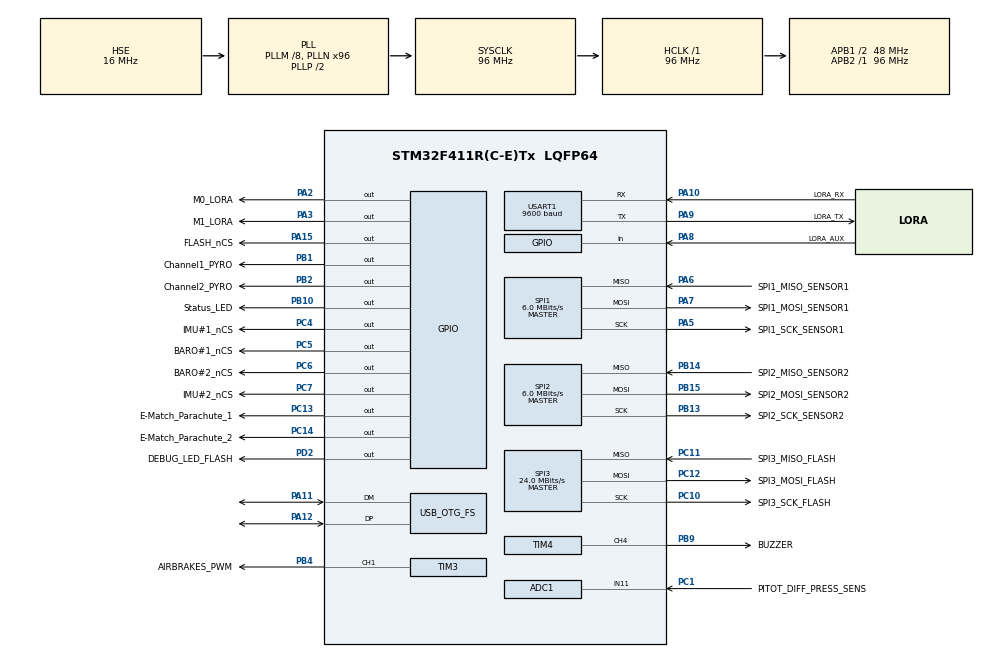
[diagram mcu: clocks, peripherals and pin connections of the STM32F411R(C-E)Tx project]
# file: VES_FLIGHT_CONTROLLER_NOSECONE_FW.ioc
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ADC1.Channel-2\#ChannelRegularConversion=ADC_CHANNEL_11
ADC1.NbrOfConversionFlag=1
ADC1.Rank-2\#ChannelRegularConversion=1
ADC1.SamplingTime-2\#ChannelRegularConversion=ADC_SAMPLETIME_3CYCLES
ADC1.master=1
FREERTOS.HEAP_NUMBER=4
FREERTOS.Tasks01=StartupTask,24,128,Startup,Default,NULL,Dynamic,NULL,NULL;FlashWriteTask,24,128,FlashWrite,Default,NULL,Dynamic,NULL,NULL;SensorsReadTask,24,128,SensorsRead,Default,NULL,Dynamic,NULL,NULL;COMBoardTask,24,128,CommunicationBoard,Default,NULL,Dynamic,NULL,NULL;FlightFSMTask,24,128,FlightFSM,Default,NULL,Dynamic,NULL,NULL;SystemHealthCheckTask,8,128,SystemHealthCheck,Default,NULL,Dynamic,NULL,NULL
FREERTOS.configMAX_TASK_NAME_LEN=25
FREERTOS.configUSE_NEWLIB_REENTRANT=1
Mcu.Family=STM32F4
Mcu.Name=STM32F411R(C-E)Tx
Mcu.Package=LQFP64
NVIC.OTG_FS_IRQn=true\:5\:0\:false\:false\:true\:true\:false\:true\:true
NVIC.PriorityGroup=NVIC_PRIORITYGROUP_4
NVIC.TIM1_UP_TIM10_IRQn=true\:15\:0\:false\:false\:true\:false\:false\:true\:true
NVIC.TimeBase=TIM1_UP_TIM10_IRQn
NVIC.TimeBaseIP=TIM1
PA10.GPIO_Label=LORA_RX
PA10.GPIO_PuPd=GPIO_PULLUP
PA10.Mode=Asynchronous
PA10.Signal=USART1_RX
PA11.Mode=Device_Only
PA11.Signal=USB_OTG_FS_DM
PA12.Mode=Device_Only
PA12.Signal=USB_OTG_FS_DP
PA13.Mode=Serial_Wire
PA13.Signal=SYS_JTMS-SWDIO
PA14.Mode=Serial_Wire
PA14.Signal=SYS_JTCK-SWCLK
PA15.GPIO_Label=FLASH_nCS
PA15.Signal=GPIO_Output
PA2.GPIO_Label=M0_LORA
PA2.Signal=GPIO_Output
PA3.GPIO_Label=M1_LORA
PA3.Signal=GPIO_Output
PA5.GPIO_Label=SPI1_SCK_SENSOR1
PA5.Mode=Full_Duplex_Master
PA5.Signal=SPI1_SCK
PA6.GPIO_Label=SPI1_MISO_SENSOR1
PA6.Mode=Full_Duplex_Master
PA6.Signal=SPI1_MISO
PA7.GPIO_Label=SPI1_MOSI_SENSOR1
PA7.Mode=Full_Duplex_Master
PA7.Signal=SPI1_MOSI
PA8.GPIO_Label=LORA_AUX
PA8.GPIO_PuPd=GPIO_PULLUP
PA8.Signal=GPIO_Input
PA9.GPIO_Label=LORA_TX
PA9.GPIO_PuPd=GPIO_PULLUP
PA9.Mode=Asynchronous
PA9.Signal=USART1_TX
PB1.GPIO_Label=Channel1_PYRO
PB1.Signal=GPIO_Output
PB10.GPIO_Label=Status_LED
PB10.Signal=GPIO_Output
PB13.GPIO_Label=SPI2_SCK_SENSOR2
PB13.Mode=Full_Duplex_Master
PB13.Signal=SPI2_SCK
PB14.GPIO_Label=SPI2_MISO_SENSOR2
PB14.Mode=Full_Duplex_Master
PB14.Signal=SPI2_MISO
PB15.GPIO_Label=SPI2_MOSI_SENSOR2
PB15.Mode=Full_Duplex_Master
PB15.Signal=SPI2_MOSI
PB2.GPIO_Label=Channel2_PYRO
PB2.Signal=GPIO_Output
PB4.GPIO_Label=AIRBRAKES_PWM
PB4.Signal=S_TIM3_CH1
PB9.GPIO_Label=BUZZER
PB9.Signal=S_TIM4_CH4
PC1.GPIO_Label=PITOT_DIFF_PRESS_SENS
PC1.Signal=ADCx_IN11
PC10.GPIO_Label=SPI3_SCK_FLASH
PC10.Mode=Full_Duplex_Master
PC10.Signal=SPI3_SCK
PC11.GPIO_Label=SPI3_MISO_FLASH
PC11.Mode=Full_Duplex_Master
PC11.Signal=SPI3_MISO
PC12.GPIO_Label=SPI3_MOSI_FLASH
PC12.Mode=Full_Duplex_Master
PC12.Signal=SPI3_MOSI
PC13-ANTI_TAMP.GPIO_Label=E-Match_Parachute_1
PC13-ANTI_TAMP.Signal=GPIO_Output
PC14-OSC32_IN.GPIO_Label=E-Match_Parachute_2
PC14-OSC32_IN.Signal=GPIO_Output
PC4.GPIO_Label=IMU\#1_nCS
PC4.Signal=GPIO_Output
PC5.GPIO_Label=BARO\#1_nCS
PC5.Signal=GPIO_Output
PC6.GPIO_Label=BARO\#2_nCS
PC6.Signal=GPIO_Output
PC7.GPIO_Label=IMU\#2_nCS
PC7.Signal=GPIO_Output
PD2.GPIO_Label=DEBUG_LED_FLASH
PD2.Signal=GPIO_Output
PH0\ -\ OSC_IN.Mode=HSE-External-Oscillator
PH0\ -\ OSC_IN.Signal=RCC_OSC_IN
PH1\ -\ OSC_OUT.Mode=HSE-External-Oscillator
PH1\ -\ OSC_OUT.Signal=RCC_OSC_OUT
ProjectManager.HeapSize=0x200
ProjectManager.StackSize=0x400
ProjectManager.TargetToolchain=STM32CubeIDE
RCC.48MHZClocksFreq_Value=48000000
RCC.AHBFreq_Value=96000000
RCC.APB1CLKDivider=RCC_HCLK_DIV2
RCC.APB1Freq_Value=48000000
RCC.APB1TimFreq_Value=96000000
RCC.APB2Freq_Value=96000000
RCC.APB2TimFreq_Value=96000000
RCC.CortexFreq_Value=96000000
RCC.HCLKFreq_Value=96000000
RCC.HSE_VALUE=16000000
RCC.HSI_VALUE=16000000
RCC.LSE_VALUE=32768
RCC.PLLM=8
RCC.PLLN=96
RCC.SYSCLKFreq_VALUE=96000000
RCC.SYSCLKSource=RCC_SYSCLKSOURCE_PLLCLK
RCC.VCOOutputFreq_Value=192000000
SH.ADCx_IN11.0=ADC1_IN11,IN11
SH.S_TIM3_CH1.0=TIM3_CH1,PWM Generation1 CH1
SH.S_TIM4_CH4.0=TIM4_CH4,PWM Generation4 CH4
SPI1.BaudRatePrescaler=SPI_BAUDRATEPRESCALER_16
SPI1.CalculateBaudRate=6.0 MBits/s
SPI1.Direction=SPI_DIRECTION_2LINES
SPI1.Mode=SPI_MODE_MASTER
SPI1.VirtualType=VM_MASTER
SPI2.BaudRatePrescaler=SPI_BAUDRATEPRESCALER_8
SPI2.CalculateBaudRate=6.0 MBits/s
SPI2.Direction=SPI_DIRECTION_2LINES
SPI2.Mode=SPI_MODE_MASTER
SPI2.VirtualType=VM_MASTER
SPI3.BaudRatePrescaler=SPI_BAUDRATEPRESCALER_2
SPI3.CalculateBaudRate=24.0 MBits/s
SPI3.Direction=SPI_DIRECTION_2LINES
SPI3.Mode=SPI_MODE_MASTER
SPI3.VirtualType=VM_MASTER
TIM3.Channel-PWM\ Generation1\ CH1=TIM_CHANNEL_1
TIM4.Channel-PWM\ Generation4\ CH4=TIM_CHANNEL_4
TIM4.Period=0
TIM4.Prescaler=0
USART1.BaudRate=9600
USART1.VirtualMode=VM_ASYNC
USB_DEVICE.CLASS_NAME_FS=MSC
USB_DEVICE.VirtualMode=Msc
USB_DEVICE.VirtualModeFS=Msc_FS
USB_OTG_FS.VirtualMode=Device_Only
VP_FREERTOS_VS_CMSIS_V2.Mode=CMSIS_V2
VP_SYS_VS_tim1.Mode=TIM1
VP_TIM3_VS_ClockSourceINT.Mode=Internal
VP_USB_DEVICE_VS_USB_DEVICE_MSC_FS.Mode=MSC_FS
board=custom

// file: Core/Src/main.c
/* USER CODE BEGIN Header */
/**
  ******************************************************************************
  * @file           : main.c
  * @brief          : Main program body
  ******************************************************************************
  * @attention
  *
  * Copyright (c) 2023 STMicroelectronics.
  * All rights reserved.
  *
  * This software is licensed under terms that can be found in the LICENSE file
  * in the root directory of this software component.
  * If no LICENSE file comes with this software, it is provided AS-IS.
  *
  ******************************************************************************
  */
/* USER CODE END Header */
#include "main.h"
#include "cmsis_os.h"
#include "usb_device.h"
#include <math.h>
#include <string.h>

/* USER CODE BEGIN Includes */
#include "e220.h"
/* USER CODE END Includes */

ADC_HandleTypeDef hadc1;

SPI_HandleTypeDef hspi1;
SPI_HandleTypeDef hspi2;
SPI_HandleTypeDef hspi3;

TIM_HandleTypeDef htim3;
TIM_HandleTypeDef htim4;

UART_HandleTypeDef huart1;
#if 0
static uint64_t startup_stk[256];
static uint64_t flashwrite_stk[512];
static uint64_t sensors_stk[256];
static uint64_t comboard_stk[256];
static uint64_t flightFSM_stk[256];
static uint64_t systemHealth_stk[256];

static StaticTask_t startup_tcb;
static StaticTask_t flashwrite_tcb;
static StaticTask_t sensors_tcb;
static StaticTask_t comboard_tcb;
static StaticTask_t flightFSM_tcb;
static StaticTask_t systemHealth_tcb;

/* Definitions for StartupTask */
osThreadId_t StartupTaskHandle;
const osThreadAttr_t StartupTask_attributes = {
  .name = "StartupTask",
  .stack_size = sizeof(startup_stk),
  .stack_mem  = &startup_stk[0],
  .cb_mem  = &startup_tcb,
  .cb_size = sizeof(startup_tcb),
  .priority = (osPriority_t) osPriorityNormal,
};
/* Definitions for FlashWriteTask */
osThreadId_t FlashWriteTaskHandle;
const osThreadAttr_t FlashWriteTask_attributes = {
  .name = "FlashWriteTask",
  .stack_size = sizeof(flashwrite_stk),
  .stack_mem  = &flashwrite_stk[0],
  .cb_mem  = &flashwrite_tcb,
  .cb_size = sizeof(flashwrite_tcb),
  .priority = (osPriority_t) osPriorityNormal,
};
/* Definitions for SensorsReadTask */
osThreadId_t SensorsReadTaskHandle;
const osThreadAttr_t SensorsReadTask_attributes = {
  .name = "SensorsReadTask",
  .stack_size = sizeof(sensors_stk),
  .stack_mem  = &sensors_stk[0],
  .cb_mem  = &sensors_tcb,
  .cb_size = sizeof(sensors_tcb),
  .priority = (osPriority_t) osPriorityNormal,
};
/* Definitions for COMBoardTask */
osThreadId_t COMBoardTaskHandle;
const osThreadAttr_t COMBoardTask_attributes = {
  .name = "COMBoardTask",
  .stack_size = sizeof(comboard_stk),
  .stack_mem  = &comboard_stk[0],
  .cb_mem  = &comboard_tcb,
  .cb_size = sizeof(comboard_tcb),
  .priority = (osPriority_t) osPriorityNormal,
};
/* Definitions for FlightFSMTask */
osThreadId_t FlightFSMTaskHandle;
const osThreadAttr_t FlightFSMTask_attributes = {
  .name = "FlightFSMTask",
  .stack_size = sizeof(flightFSM_stk),
  .stack_mem  = &flightFSM_stk[0],
  .cb_mem  = &flightFSM_tcb,
  .cb_size = sizeof(flightFSM_tcb),
  .priority = (osPriority_t) osPriorityNormal,
};
/* Definitions for SystemHealthCheckTask */
osThreadId_t SystemHealthCheckTaskHandle;
const osThreadAttr_t SystemHealthCheckTask_attributes = {
  .name = "SystemHealthCheckTask",
  .stack_size = sizeof(systemHealth_stk),
  .stack_mem  = &systemHealth_stk[0],
  .cb_mem  = &systemHealth_tcb,
  .cb_size = sizeof(systemHealth_tcb),
  .priority = (osPriority_t) osPriorityLow,
};
#else
/* Definitions for StartupTask */
osThreadId_t StartupTaskHandle;
const osThreadAttr_t StartupTask_attributes = {
  .name = "StartupTask",
  .stack_size = 128 * 4,
  .priority = (osPriority_t) osPriorityNormal,
};
/* Definitions for FlashWriteTask */
osThreadId_t FlashWriteTaskHandle;
const osThreadAttr_t FlashWriteTask_attributes = {
  .name = "FlashWriteTask",
  .stack_size = 256*4,//128 * 4,
  .priority = (osPriority_t) osPriorityNormal,
};
/* Definitions for SensorsReadTask */
osThreadId_t SensorsReadTaskHandle;
const osThreadAttr_t SensorsReadTask_attributes = {
  .name = "SensorsReadTask",
  .stack_size = 128 * 4,
  .priority = (osPriority_t) osPriorityNormal,
};
/* Definitions for COMBoardTask */
osThreadId_t COMBoardTaskHandle;
const osThreadAttr_t COMBoardTask_attributes = {
  .name = "COMBoardTask",
  .stack_size = 128 * 4,
  .priority = (osPriority_t) osPriorityNormal,
};
/* Definitions for FlightFSMTask */
osThreadId_t FlightFSMTaskHandle;
const osThreadAttr_t FlightFSMTask_attributes = {
  .name = "FlightFSMTask",
  .stack_size = 128 * 4,
  .priority = (osPriority_t) osPriorityNormal,
};
/* Definitions for SystemHealthCheckTask */
osThreadId_t SystemHealthCheckTaskHandle;
const osThreadAttr_t SystemHealthCheckTask_attributes = {
  .name = "SystemHealthCheckTask",
  .stack_size = 128 * 4,
  .priority = (osPriority_t) osPriorityLow,
};
#endif
/* USER CODE BEGIN PV */
/* SENSORS AND DEVICES DECLARATION */
W25Q128_t flash = {0};
ExtU rtU = {0};
ExtY rtY = {0};

struct bmp3_dev bmp390_1 = {0}, bmp390_2 = {0};
stmdev_ctx_t imu_1 = {0}, imu_2 = {0};

pitot_sensor_t pitot = {0};
uint8_t output[4000] = {0};
servo_t servo = {0};
bool acknowledge_flag = false;

buzzer_t buzzer = {0};
uint32_t flash_addr1 = FLASH_START_ADDRESS;
uint32_t flash_addr2 = FLASH_START_ADDRESS +(uint32_t)32;
uint32_t flash_addr3 = FLASH_START_ADDRESS +(uint32_t)44;
uint32_t flash_addr4 = FLASH_START_ADDRESS +(uint32_t)76;
uint32_t flash_addr5 = FLASH_START_ADDRESS +(uint32_t)88;
uint32_t flash_addr6 = FLASH_START_ADDRESS +(uint32_t)120;
uint32_t flash_addr7 = FLASH_START_ADDRESS +(uint32_t)132;
uint32_t flash_addr8 = FLASH_START_ADDRESS +(uint32_t)164;
uint32_t flash_addr9 = FLASH_START_ADDRESS +(uint32_t)176;
uint32_t flash_addr10 = FLASH_START_ADDRESS +(uint32_t)208;
uint32_t flash_addr11 = FLASH_START_ADDRESS +(uint32_t)220;
uint32_t flash_addr12 = FLASH_START_ADDRESS +(uint32_t)252;
uint32_t flash_addr13 = FLASH_START_ADDRESS +(uint32_t)264;
uint32_t flash_addr14 = FLASH_START_ADDRESS +(uint32_t)296;
uint32_t flash_addr15 = FLASH_START_ADDRESS +(uint32_t)308;
uint32_t flash_addr16 = FLASH_START_ADDRESS +(uint32_t)340;

/* DECLARATION AND DEFINITION OF THE GLOBAL VARIABLES FOR THE FLIGHT */

flight_phase_t flight_phase = CALIBRATING;

flight_fsm_t flight_state;

//char num_acc_modify[]={0,0,0};
//char num_gyro_modify[]={0,0,0};

struct bmp3_data barometer_data_1 = {-1, -1};
struct bmp3_data barometer_data_2 = {-1, -1};

static int16_t data_raw_angular_rate_1[3] = {0};
static int16_t data_raw_acceleration_1[3] = {0};
static int16_t data_raw_angular_rate_2[3] = {0};
static int16_t data_raw_acceleration_2[3] = {0};

static float_t acceleration_mg_1[3] = {0};
static float_t angular_rate_mdps_1[3] = {0};
static float_t acceleration_mg_2[3] = {0};
static float_t angular_rate_mdps_2[3] = {0};

linear_acceleration_t curr_acc = {0};
linear_acceleration_t prev_acc = {0};

#pragma pack(push, 1)
typedef struct {
	float_t acc_x;
	float_t acc_y;
	float_t acc_z;

	float_t dps_x;
	float_t dps_y;
	float_t dps_z;

	float_t temperature;
	float_t pressure;

} sensor_data;
#pragma pack(pop)

#pragma pack(push, 1)
typedef struct{
    float_t altitude;
    float_t velocity;
    float_t phase;
} sensor_data_2;
#pragma pack(pop)

#pragma pack(push, 1)
typedef struct {
	char carattere;
	float_t acc_x;
	float_t acc_y;
	float_t acc_z;

	float_t dps_x;
	float_t dps_y;
	float_t dps_z;

	float_t temperature;
	float_t pressure;

    float_t altitude;
    float_t velocity;
    float_t phase;
} Lora_Package;
#pragma pack(pop)

uint32_t num_meas_stored_in_buffer = (uint32_t)0;
uint32_t num_big_meas_stored_in_flash = (uint32_t)0;
uint32_t num_small_meas_stored_in_flash = (uint32_t)0;
//uint32_t num_times_lol_was_written = (uint32_t)0;
bool flash_flag = false;

//uint8_t *measurements_buffer;
sensor_data measurements_buffer[FLASH_NUMBER_OF_STORE_EACH_TIME * 2];
//uint8_t *measurements_buffer_2;
sensor_data_2 measurements_buffer_2[FLASH_NUMBER_OF_STORE_EACH_TIME * 2];

uint8_t DnLc_00[512];
uint8_t DnLc_01[512];

uint8_t contatore_debug = 0; //DEBUG ABBOT

//float dt = 0.01; // Time step
//// Kalman filter parameters
//float Q[3][3] = { {1.80293050e+09, 0.0, 0.0},
//	                  {0.0, 2.12070154e+05, 0.0},
//	                  {0.0, 0.0, 1.52358682e+05} }; // Process noise covariance
//
//float R[2][2] = { {16, 0},
//	                  {0, 0.000225} }; // Measurement noise covariance
//
//float P[3][3] = { {1.0, 0.0, 0.0},
//	                  {0.0, 1.0, 0.0},
//	                  {0.0, 0.0, 1.0} }; // Initial state covariance
//
////float F[3][3] = { {1.0, dt, 0.5 * dt * dt},
////	                  {0.0, 1.0, dt},
//	                  {0.0, 0.0, 1.0} }; // State transition model
//
//float C[2][3] = { {1.0, 0.0, 0.0}, // Measurement matrix for altitude
//	                  {0.0, 0.0, 1.0} }; // Measurement matrix for acceleration
//
//	// Initial state
//float xp[3] = {0.0, 0.0, 0.0}; // State: [altitude, velocity, acceleration]

float_t altitude;
float_t altitude_2;
float_t prev_altitude = 0.0;
bool first_measure = true;
float_t velocity;
float_t Pressure_1;
float_t Pressure_2;

uint8_t send_buffer[35]="Hello There!bro";
uint8_t receive_buffer[2];
int16_t Lora_result;
uint8_t all_reg_rx[8], all_reg_tx[8];

struct LoRa_Handler LoraTX={0},LoraRX={0};

/* USER CODE END PV */

void SystemClock_Config(void);
static void MX_GPIO_Init(void);
static void MX_SPI1_Init(void);
static void MX_SPI2_Init(void);
static void MX_SPI3_Init(void);
static void MX_TIM3_Init(void);
static void MX_USART1_UART_Init(void);
static void MX_ADC1_Init(void);
static void MX_TIM4_Init(void);
void Startup(void *argument);
void FlashWrite(void *argument);
void SensorsRead(void *argument);
void CommunicationBoard(void *argument);
void FlightFSM(void *argument);
void SystemHealthCheck(void *argument);

/* USER CODE BEGIN PFP */

//static uint32_t GetSector(uint32_t Address)
//{
//  uint32_t sector = 0;
//
//  if((Address < 0x08003FFF) && (Address >= 0x08000000))
//  {
//    sector = FLASH_SECTOR_0;
//  }
//  else if((Address < 0x08007FFF) && (Address >= 0x08004000))
//  {
//    sector = FLASH_SECTOR_1;
//  }
//  else if((Address < 0x0800BFFF) && (Address >= 0x08008000))
//  {
//    sector = FLASH_SECTOR_2;
//  }
//  else if((Address < 0x0800FFFF) && (Address >= 0x0800C000))
//  {
//    sector = FLASH_SECTOR_3;
//  }
//  else if((Address < 0x0801FFFF) && (Address >= 0x08010000))
//  {
//    sector = FLASH_SECTOR_4;
//  }
//  else if((Address < 0x0803FFFF) && (Address >= 0x08020000))
//  {
//    sector = FLASH_SECTOR_5;
//  }
//  else if((Address < 0x0805FFFF) && (Address >= 0x08040000))
//  {
//    sector = FLASH_SECTOR_6;
//  }
//  else if((Address < 0x0807FFFF) && (Address >= 0x08060000))
//  {
//    sector = FLASH_SECTOR_7;
//  }
//
//  return sector;
//}
//
//
//uint32_t Flash_Write_Data (uint32_t StartSectorAddress, uint32_t *Data, uint16_t numberofwords)
//{
//
//	static FLASH_EraseInitTypeDef EraseInitStruct;
//	uint32_t SECTORError;
//	int sofar=0;
//
//
//	 /* Unlock the Flash to enable the flash control register access *************/
//	  HAL_FLASH_Unlock();
//
//	  /* Erase the user Flash area */
//
//	  /* Get the number of sector to erase from 1st sector */
//
//	  uint32_t StartSector = GetSector(StartSectorAddress);
//	  uint32_t EndSectorAddress = StartSectorAddress + numberofwords*4;
//	  uint32_t EndSector = GetSector(EndSectorAddress);
//
//	  /* Fill EraseInit structure*/
//	  EraseInitStruct.TypeErase     = FLASH_TYPEERASE_SECTORS;
//	  EraseInitStruct.VoltageRange  = FLASH_VOLTAGE_RANGE_3;
//	  EraseInitStruct.Sector        = StartSector;
//	  EraseInitStruct.NbSectors     = (EndSector - StartSector) + 1;
//
//	  /* Note: If an erase operation in Flash memory also concerns data in the data or instruction cache,
//	     you have to make sure that these data are rewritten before they are accessed during code
//	     execution. If this cannot be done safely, it is recommended to flush the caches by setting the
//	     DCRST and ICRST bits in the FLASH_CR register. */
//	  if (HAL_FLASHEx_Erase(&EraseInitStruct, &SECTORError) != HAL_OK)
//	  {
//		  return HAL_FLASH_GetError ();
//	  }
//
//	  /* Program the user Flash area word by word
//	    (area defined by FLASH_USER_START_ADDR and FLASH_USER_END_ADDR) ***********/
//
//	   while (sofar<numberofwords)
//	   {
//	     if (HAL_FLASH_Program(FLASH_TYPEPROGRAM_WORD, StartSectorAddress, Data[sofar]) == HAL_OK)
//	     {
//	    	 StartSectorAddress += 4;  // use StartPageAddress += 2 for half word and 8 for double word
//	    	 sofar++;
//	     }
//	     else
//	     {
//	       /* Error occurred while writing data in Flash memory*/
//	    	 return HAL_FLASH_GetError ();
//	     }
//	   }
//
//	  /* Lock the Flash to disable the flash control register access (recommended
//	     to protect the FLASH memory against possible unwanted operation) *********/
//	  HAL_FLASH_Lock();
//
//	   return 0;
//}
//
//void Flash_Read_Data (uint32_t StartSectorAddress, uint32_t *RxBuf, uint16_t numberofwords)
//{
//	while (1)
//	{
//
//		*RxBuf = *(__IO uint32_t *)StartSectorAddress;
//		StartSectorAddress += 4;
//		RxBuf++;
//		if (!(numberofwords--)) break;
//	}
//}
/* USER CODE END PFP */

/* USER CODE BEGIN 0 */
W25Q128_t* get_flash(){
	return &flash;
}

servo_t* get_servo(){
	return &servo;
}

float_t readAltitude(float_t seaLevelPa,float_t currentPa) {
  float_t altitude;

  altitude = (float_t)44330.0 * ((float_t)1.0 - pow(currentPa / seaLevelPa, (float_t)0.1903));

  return altitude;
}

void Set_Flash_Flag(bool val){
	flash_flag = val;
}

bool Get_Flash_Flag(){
	return flash_flag;
}

/* USER CODE END 0 */

int main(void)
{

  /* MCU Configuration--------------------------------------------------------*/

  /* Reset of all peripherals, Initializes the Flash interface and the Systick. */
  HAL_Init();

  /* Configure the system clock */
  SystemClock_Config();

  /* Initialize all configured peripherals */
  MX_GPIO_Init();
  MX_SPI1_Init();
  MX_SPI2_Init();
  MX_SPI3_Init();
  MX_TIM3_Init();
  MX_USART1_UART_Init();
  MX_ADC1_Init();
  MX_TIM4_Init();
  /* USER CODE BEGIN 2 */
  	codegen_model_initialize();
  	rtU.Altitudeinput = (double)0.0;
  	rtU.Verticalvelocityinput = (double)0.0;
  	size_t i = 0;
	int8_t result = 0;
//	int8_t result2 = 0;

	/* deactivate chip select of IMU and BMP390 */
	IMU1_CS_HIGH;
	IMU2_CS_HIGH;
	BMP390_1_CS_HIGH;
	BMP390_2_CS_HIGH;

	LED_ON(DEBUG_LED_FLASH_GPIO_Port, DEBUG_LED_FLASH_Pin);

	result = init_imu1(&imu_1, LSM6DSO32_16g, LSM6DSO32_2000dps, LSM6DSO32_XL_ODR_208Hz_NORMAL_MD, LSM6DSO32_GY_ODR_208Hz_HIGH_PERF);
	result = init_imu2(&imu_2, LSM6DSO32_16g, LSM6DSO32_2000dps, LSM6DSO32_XL_ODR_208Hz_NORMAL_MD, LSM6DSO32_GY_ODR_208Hz_HIGH_PERF);

	result = init_bmp390_1(&bmp390_1);
	result = init_bmp390_2(&bmp390_2);

	result = Flash_Init();

	if (result)
	{
		__asm("nop");
	}
	uint8_t data[4];  // Buffer to hold 4 bytes from flash

	    // Receive the first 4 bytes from flash
	Flash_Read_float(0,data, 4);

	    // Convert the byte array to float
	float resulto;
	memcpy(&resulto, data, sizeof(float));

	if(resulto != 1.0){
		Flash_ChipErase();

		float_t flag = 1.0;
		Flash_Write_float(0, (uint8_t*)&flag, 4);
	}

//	result = init_flash(&flash, BYPASS);//XXX use this everytime the chip does not need to be erased
//	while(1){
//
//	};
//	if (result == 0)	LED_OFF(DEBUG_LED_FLASH_GPIO_Port, DEBUG_LED_FLASH_Pin);
//  	uint8_t angle = 0;

    LoraTX.uart_handler=&huart1;
    LoraTX.M_GPIO_PORT=GPIOA;
    LoraTX.AUX_GPIO_PORT=GPIOA;
    LoraTX.M0_PIN=GPIO_PIN_2;
    LoraTX.M1_PIN=GPIO_PIN_3;
    LoraTX.MAUX_PIN=GPIO_PIN_8;
//
    LoraRX.uart_handler=&huart1;
    LoraRX.M_GPIO_PORT=GPIOA;
    LoraRX.AUX_GPIO_PORT=GPIOA;
    LoraRX.M0_PIN=GPIO_PIN_2;
    LoraRX.M1_PIN=GPIO_PIN_3;
    LoraRX.MAUX_PIN=GPIO_PIN_8;

    while (E220_enter_config_mode(&LoraTX)!=1);
    while (E220_enter_config_mode(&LoraRX)!=1);
//    E220_reset(&LoraRX);
//    E220_reset(&LoraTX);
//    E220_set_packetsize_32k(&LoraTX);
//    E220_set_packetsize_32k(&LoraRX);
//    E220_set_datarate_62k(&LoraRX);
//    E220_set_datarate_62k(&LoraTX);
//    Lora_result=E220_read_register_all(&LoraTX,all_reg_tx);
//    Lora_result=E220_read_register_all(&LoraRX,all_reg_rx);

    E220_enter_normal_mode(&LoraRX);
    E220_enter_normal_mode(&LoraTX);
    E220_read_register(&LoraTX,REG1);

	flight_state.flight_state = flight_phase;

	calibrateIMU(&imu_1, 1000, HWOFFSET);
//	calibrateIMU(&imu_1, 1, RESET_HWOFFSET);

	buzzerInit(&buzzer);
	servo_init(&servo);
	servo_rawmove(&servo, 2000);

//	note_t notes[20] = {
//			C1, G1, C2, E2,
//			D1, A1, D2, F2,
//			E1, B1, E2, G2,
//			F1, C2, F2, A2,
//			G1, D2, G2, B2
//	};

//	for (size_t i = 0; i < 20; i++) {
//		LED_ON(Status_LED_GPIO_Port, Status_LED_Pin);
//		beepBuzzer(&buzzer, 250, 10, notes[i]);
//		LED_OFF(Status_LED_GPIO_Port, Status_LED_Pin);
//		HAL_Delay(75);
//	}
//
//  	HAL_Delay(1000);
//
//  	servo_moveto_deg(&servo, 90); // Muovi servo a 90°
//
//  	HAL_Delay(1000);
//
//  	servo_moveto_deg(&servo, 135); // Muovi servo a 135°

//	beepBuzzer(&buzzer, 500, 100, C5);
//	HAL_Delay(500);
//	beepBuzzer(&buzzer, 1000, 100, C5);
//	HAL_Delay(500);
//	beepBuzzer(&buzzer, 1000, 100, C5);
//	HAL_Delay(500);
//	beepBuzzer(&buzzer, 1000, 100, C5);
//	HAL_Delay(500);

//
//	uint8_t buf[32] = {0};
//
//	result = W25Q128_read_data(&flash, 32, buf, 32);
//
//	float_t temperature = 0;
//	memcpy(&temperature, buf + 24, sizeof(float_t));
//
//	float_t pressure = 0;
//	memcpy(&pressure, buf + 28, sizeof(float_t));

//  	HAL_Delay(1000);

//  	servo_moveto_deg(&servo,180); //chiudere
//
//  	HAL_Delay(1000);
//////
//  	servo_moveto_deg(&servo, 0); //aprie AZIONE DA FARE DURANTE LA MACCHINA A STATI ABBOT

//  	Flash_Write(0,(uint8_t*)"lopi",4);

//	char *data = "internal flash writing test\0";
//
//	uint8_t Rx_Data[30] = {0};
//
//	int numofwords = (strlen(data)/4)+((strlen(data)%4)!=0);
//	Flash_Write_Data(0x08008100 , (uint32_t *)data, numofwords);
//	Flash_Read_Data(0x08008100 , Rx_Data, numofwords);

//  uint16_t diff_pressure = 0;
//
//  uint8_t result = init_pitot_sensor(&pitot, &hadc1);
//
//  for (int i = 0; i < 100; i++) {
//
//	  result = read_diff_pressure(&pitot);
//
//	  diff_pressure = pitot.diff_pressure > diff_pressure ? pitot.diff_pressure : diff_pressure;
//
//	  HAL_Delay(10);
//
//  }
//
//  uint16_t velocity = compute_velocity(temperature,pression,diff_pressure); /* measurement unit m/s */

  /* USER CODE END 2 */

  /* Init scheduler */
  osKernelInitialize();

  /* USER CODE BEGIN RTOS_MUTEX */
//  /* add mutexes, ... */
  /* USER CODE END RTOS_MUTEX */

  /* USER CODE BEGIN RTOS_SEMAPHORES */
//  /* add semaphores, ... */
  /* USER CODE END RTOS_SEMAPHORES */

  /* USER CODE BEGIN RTOS_TIMERS */
//  /* start timers, add new ones, ... */
  /* USER CODE END RTOS_TIMERS */

  /* USER CODE BEGIN RTOS_QUEUES */
//  /* add queues, ... */
  /* USER CODE END RTOS_QUEUES */

  /* Create the thread(s) */
  /* creation of StartupTask */
  StartupTaskHandle = osThreadNew(Startup, NULL, &StartupTask_attributes);

  /* creation of FlashWriteTask */
  FlashWriteTaskHandle = osThreadNew(FlashWrite, NULL, &FlashWriteTask_attributes);

  /* creation of SensorsReadTask */
  SensorsReadTaskHandle = osThreadNew(SensorsRead, NULL, &SensorsReadTask_attributes);

  /* creation of COMBoardTask */
  COMBoardTaskHandle = osThreadNew(CommunicationBoard, NULL, &COMBoardTask_attributes);

  /* creation of FlightFSMTask */
  FlightFSMTaskHandle = osThreadNew(FlightFSM, NULL, &FlightFSMTask_attributes);

  /* creation of SystemHealthCheckTask */
  SystemHealthCheckTaskHandle = osThreadNew(SystemHealthCheck, NULL, &SystemHealthCheckTask_attributes);

  /* USER CODE BEGIN RTOS_THREADS */
//  /* add threads, ... */
  /* USER CODE END RTOS_THREADS */

  /* USER CODE BEGIN RTOS_EVENTS */
//  /* add events, ... */
  /* USER CODE END RTOS_EVENTS */

  /* Start scheduler */
  osKernelStart();

  /* We should never get here as control is now taken by the scheduler */

  /* Infinite loop */
  /* USER CODE BEGIN WHILE */
  while (1)
  {

	  rtU.Altitudeinput += 10.0;
	  rtU.Verticalvelocityinput = 200.0;
    /* USER CODE END WHILE */

    /* USER CODE BEGIN 3 */
	  codegen_model_step();

	  output[i++] = rtY.Airbrakesextoutput * 100;

	  servo_moveto_deg(&servo, rtY.Airbrakesextoutput * 60);

	  HAL_Delay(10);
  }
  /* USER CODE END 3 */
}

void SystemClock_Config(void)
{
  RCC_OscInitTypeDef RCC_OscInitStruct = {0};
  RCC_ClkInitTypeDef RCC_ClkInitStruct = {0};

  /** Configure the main internal regulator output voltage
  */
  __HAL_RCC_PWR_CLK_ENABLE();
  __HAL_PWR_VOLTAGESCALING_CONFIG(PWR_REGULATOR_VOLTAGE_SCALE1);

  /** Initializes the RCC Oscillators according to the specified parameters
  * in the RCC_OscInitTypeDef structure.
  */
  RCC_OscInitStruct.OscillatorType = RCC_OSCILLATORTYPE_HSE;
  RCC_OscInitStruct.HSEState = RCC_HSE_ON;
  RCC_OscInitStruct.PLL.PLLState = RCC_PLL_ON;
  RCC_OscInitStruct.PLL.PLLSource = RCC_PLLSOURCE_HSE;
  RCC_OscInitStruct.PLL.PLLM = 8;
  RCC_OscInitStruct.PLL.PLLN = 96;
  RCC_OscInitStruct.PLL.PLLP = RCC_PLLP_DIV2;
  RCC_OscInitStruct.PLL.PLLQ = 4;
  if (HAL_RCC_OscConfig(&RCC_OscInitStruct) != HAL_OK)
  {
    Error_Handler();
  }

  /** Initializes the CPU, AHB and APB buses clocks
  */
  RCC_ClkInitStruct.ClockType = RCC_CLOCKTYPE_HCLK|RCC_CLOCKTYPE_SYSCLK
                              |RCC_CLOCKTYPE_PCLK1|RCC_CLOCKTYPE_PCLK2;
  RCC_ClkInitStruct.SYSCLKSource = RCC_SYSCLKSOURCE_PLLCLK;
  RCC_ClkInitStruct.AHBCLKDivider = RCC_SYSCLK_DIV1;
  RCC_ClkInitStruct.APB1CLKDivider = RCC_HCLK_DIV2;
  RCC_ClkInitStruct.APB2CLKDivider = RCC_HCLK_DIV1;

  if (HAL_RCC_ClockConfig(&RCC_ClkInitStruct, FLASH_LATENCY_3) != HAL_OK)
  {
    Error_Handler();
  }
}

static void MX_ADC1_Init(void)
{

  ADC_ChannelConfTypeDef sConfig = {0};

  /** Configure the global features of the ADC (Clock, Resolution, Data Alignment and number of conversion)
  */
  hadc1.Instance = ADC1;
  hadc1.Init.ClockPrescaler = ADC_CLOCK_SYNC_PCLK_DIV4;
  hadc1.Init.Resolution = ADC_RESOLUTION_12B;
  hadc1.Init.ScanConvMode = DISABLE;
  hadc1.Init.ContinuousConvMode = DISABLE;
  hadc1.Init.DiscontinuousConvMode = DISABLE;
  hadc1.Init.ExternalTrigConvEdge = ADC_EXTERNALTRIGCONVEDGE_NONE;
  hadc1.Init.ExternalTrigConv = ADC_SOFTWARE_START;
  hadc1.Init.DataAlign = ADC_DATAALIGN_RIGHT;
  hadc1.Init.NbrOfConversion = 1;
  hadc1.Init.DMAContinuousRequests = DISABLE;
  hadc1.Init.EOCSelection = ADC_EOC_SINGLE_CONV;
  if (HAL_ADC_Init(&hadc1) != HAL_OK)
  {
    Error_Handler();
  }

  /** Configure for the selected ADC regular channel its corresponding rank in the sequencer and its sample time.
  */
  sConfig.Channel = ADC_CHANNEL_11;
  sConfig.Rank = 1;
  sConfig.SamplingTime = ADC_SAMPLETIME_3CYCLES;
  if (HAL_ADC_ConfigChannel(&hadc1, &sConfig) != HAL_OK)
  {
    Error_Handler();
  }

}

static void MX_SPI1_Init(void)
{

  /* SPI1 parameter configuration*/
  hspi1.Instance = SPI1;
  hspi1.Init.Mode = SPI_MODE_MASTER;
  hspi1.Init.Direction = SPI_DIRECTION_2LINES;
  hspi1.Init.DataSize = SPI_DATASIZE_8BIT;
  hspi1.Init.CLKPolarity = SPI_POLARITY_LOW;
  hspi1.Init.CLKPhase = SPI_PHASE_1EDGE;
  hspi1.Init.NSS = SPI_NSS_SOFT;
  hspi1.Init.BaudRatePrescaler = SPI_BAUDRATEPRESCALER_16;
  hspi1.Init.FirstBit = SPI_FIRSTBIT_MSB;
  hspi1.Init.TIMode = SPI_TIMODE_DISABLE;
  hspi1.Init.CRCCalculation = SPI_CRCCALCULATION_DISABLE;
  hspi1.Init.CRCPolynomial = 10;
  if (HAL_SPI_Init(&hspi1) != HAL_OK)
  {
    Error_Handler();
  }

}

static void MX_SPI2_Init(void)
{

  /* SPI2 parameter configuration*/
  hspi2.Instance = SPI2;
  hspi2.Init.Mode = SPI_MODE_MASTER;
  hspi2.Init.Direction = SPI_DIRECTION_2LINES;
  hspi2.Init.DataSize = SPI_DATASIZE_8BIT;
  hspi2.Init.CLKPolarity = SPI_POLARITY_LOW;
  hspi2.Init.CLKPhase = SPI_PHASE_1EDGE;
  hspi2.Init.NSS = SPI_NSS_SOFT;
  hspi2.Init.BaudRatePrescaler = SPI_BAUDRATEPRESCALER_8;
  hspi2.Init.FirstBit = SPI_FIRSTBIT_MSB;
  hspi2.Init.TIMode = SPI_TIMODE_DISABLE;
  hspi2.Init.CRCCalculation = SPI_CRCCALCULATION_DISABLE;
  hspi2.Init.CRCPolynomial = 10;
  if (HAL_SPI_Init(&hspi2) != HAL_OK)
  {
    Error_Handler();
  }

}

static void MX_SPI3_Init(void)
{

  /* SPI3 parameter configuration*/
  hspi3.Instance = SPI3;
  hspi3.Init.Mode = SPI_MODE_MASTER;
  hspi3.Init.Direction = SPI_DIRECTION_2LINES;
  hspi3.Init.DataSize = SPI_DATASIZE_8BIT;
  hspi3.Init.CLKPolarity = SPI_POLARITY_LOW;
  hspi3.Init.CLKPhase = SPI_PHASE_1EDGE;
  hspi3.Init.NSS = SPI_NSS_SOFT;
  hspi3.Init.BaudRatePrescaler = SPI_BAUDRATEPRESCALER_4;
  hspi3.Init.FirstBit = SPI_FIRSTBIT_MSB;
  hspi3.Init.TIMode = SPI_TIMODE_DISABLE;
  hspi3.Init.CRCCalculation = SPI_CRCCALCULATION_DISABLE;
  hspi3.Init.CRCPolynomial = 10;
  if (HAL_SPI_Init(&hspi3) != HAL_OK)
  {
    Error_Handler();
  }

}

static void MX_TIM3_Init(void)
{

  TIM_ClockConfigTypeDef sClockSourceConfig = {0};
  TIM_MasterConfigTypeDef sMasterConfig = {0};
  TIM_OC_InitTypeDef sConfigOC = {0};

  htim3.Instance = TIM3;
  htim3.Init.Prescaler = 0;
  htim3.Init.CounterMode = TIM_COUNTERMODE_UP;
  htim3.Init.Period = 65535;
  htim3.Init.ClockDivision = TIM_CLOCKDIVISION_DIV1;
  htim3.Init.AutoReloadPreload = TIM_AUTORELOAD_PRELOAD_DISABLE;
  if (HAL_TIM_Base_Init(&htim3) != HAL_OK)
  {
    Error_Handler();
  }
  sClockSourceConfig.ClockSource = TIM_CLOCKSOURCE_INTERNAL;
  if (HAL_TIM_ConfigClockSource(&htim3, &sClockSourceConfig) != HAL_OK)
  {
    Error_Handler();
  }
  if (HAL_TIM_PWM_Init(&htim3) != HAL_OK)
  {
    Error_Handler();
  }
  sMasterConfig.MasterOutputTrigger = TIM_TRGO_RESET;
  sMasterConfig.MasterSlaveMode = TIM_MASTERSLAVEMODE_DISABLE;
  if (HAL_TIMEx_MasterConfigSynchronization(&htim3, &sMasterConfig) != HAL_OK)
  {
    Error_Handler();
  }
  sConfigOC.OCMode = TIM_OCMODE_PWM1;
  sConfigOC.Pulse = 0;
  sConfigOC.OCPolarity = TIM_OCPOLARITY_HIGH;
  sConfigOC.OCFastMode = TIM_OCFAST_DISABLE;
  if (HAL_TIM_PWM_ConfigChannel(&htim3, &sConfigOC, TIM_CHANNEL_1) != HAL_OK)
  {
    Error_Handler();
  }
  HAL_TIM_MspPostInit(&htim3);

}

static void MX_TIM4_Init(void)
{

  TIM_MasterConfigTypeDef sMasterConfig = {0};
  TIM_OC_InitTypeDef sConfigOC = {0};

  htim4.Instance = TIM4;
  htim4.Init.Prescaler = 0;
  htim4.Init.CounterMode = TIM_COUNTERMODE_UP;
  htim4.Init.Period = 0;
  htim4.Init.ClockDivision = TIM_CLOCKDIVISION_DIV1;
  htim4.Init.AutoReloadPreload = TIM_AUTORELOAD_PRELOAD_DISABLE;
  if (HAL_TIM_PWM_Init(&htim4) != HAL_OK)
  {
    Error_Handler();
  }
  sMasterConfig.MasterOutputTrigger = TIM_TRGO_RESET;
  sMasterConfig.MasterSlaveMode = TIM_MASTERSLAVEMODE_DISABLE;
  if (HAL_TIMEx_MasterConfigSynchronization(&htim4, &sMasterConfig) != HAL_OK)
  {
    Error_Handler();
  }
  sConfigOC.OCMode = TIM_OCMODE_PWM1;
  sConfigOC.Pulse = 0;
  sConfigOC.OCPolarity = TIM_OCPOLARITY_HIGH;
  sConfigOC.OCFastMode = TIM_OCFAST_DISABLE;
  if (HAL_TIM_PWM_ConfigChannel(&htim4, &sConfigOC, TIM_CHANNEL_4) != HAL_OK)
  {
    Error_Handler();
  }
  HAL_TIM_MspPostInit(&htim4);

}

static void MX_USART1_UART_Init(void)
{

  huart1.Instance = USART1;
  huart1.Init.BaudRate = 9600;
  huart1.Init.WordLength = UART_WORDLENGTH_8B;
  huart1.Init.StopBits = UART_STOPBITS_1;
  huart1.Init.Parity = UART_PARITY_NONE;
  huart1.Init.Mode = UART_MODE_TX_RX;
  huart1.Init.HwFlowCtl = UART_HWCONTROL_NONE;
  huart1.Init.OverSampling = UART_OVERSAMPLING_16;
  if (HAL_UART_Init(&huart1) != HAL_OK)
  {
    Error_Handler();
  }

}

static void MX_GPIO_Init(void)
{
  GPIO_InitTypeDef GPIO_InitStruct = {0};

  /* GPIO Ports Clock Enable */
  __HAL_RCC_GPIOC_CLK_ENABLE();
  __HAL_RCC_GPIOH_CLK_ENABLE();
  __HAL_RCC_GPIOA_CLK_ENABLE();
  __HAL_RCC_GPIOB_CLK_ENABLE();
  __HAL_RCC_GPIOD_CLK_ENABLE();

  /*Configure GPIO pin Output Level */
  HAL_GPIO_WritePin(GPIOC, E_Match_Parachute_1_Pin|E_Match_Parachute_2_Pin|IMU_1_nCS_Pin|BARO_1_nCS_Pin
                          |BARO_2_nCS_Pin|IMU_2_nCS_Pin, GPIO_PIN_RESET);

  /*Configure GPIO pin Output Level */
  HAL_GPIO_WritePin(GPIOA, M0_LORA_Pin|M1_LORA_Pin|FLASH_nCS_Pin, GPIO_PIN_RESET);

  /*Configure GPIO pin Output Level */
  HAL_GPIO_WritePin(GPIOB, Channel1_PYRO_Pin|Channel2_PYRO_Pin|Status_LED_Pin, GPIO_PIN_RESET);

  /*Configure GPIO pin Output Level */
  HAL_GPIO_WritePin(DEBUG_LED_FLASH_GPIO_Port, DEBUG_LED_FLASH_Pin, GPIO_PIN_RESET);

  /*Configure GPIO pins : E_Match_Parachute_1_Pin E_Match_Parachute_2_Pin IMU_1_nCS_Pin BARO_1_nCS_Pin
                           BARO_2_nCS_Pin IMU_2_nCS_Pin */
  GPIO_InitStruct.Pin = E_Match_Parachute_1_Pin|E_Match_Parachute_2_Pin|IMU_1_nCS_Pin|BARO_1_nCS_Pin
                          |BARO_2_nCS_Pin|IMU_2_nCS_Pin;
  GPIO_InitStruct.Mode = GPIO_MODE_OUTPUT_PP;
  GPIO_InitStruct.Pull = GPIO_NOPULL;
  GPIO_InitStruct.Speed = GPIO_SPEED_FREQ_LOW;
  HAL_GPIO_Init(GPIOC, &GPIO_InitStruct);

  /*Configure GPIO pins : PC15 PC0 PC2 PC3
                           PC8 PC9 */
  GPIO_InitStruct.Pin = GPIO_PIN_15|GPIO_PIN_0|GPIO_PIN_2|GPIO_PIN_3
                          |GPIO_PIN_8|GPIO_PIN_9;
  GPIO_InitStruct.Mode = GPIO_MODE_ANALOG;
  GPIO_InitStruct.Pull = GPIO_NOPULL;
  HAL_GPIO_Init(GPIOC, &GPIO_InitStruct);

  /*Configure GPIO pins : PA0 PA1 PA4 */
  GPIO_InitStruct.Pin = GPIO_PIN_0|GPIO_PIN_1|GPIO_PIN_4;
  GPIO_InitStruct.Mode = GPIO_MODE_ANALOG;
  GPIO_InitStruct.Pull = GPIO_NOPULL;
  HAL_GPIO_Init(GPIOA, &GPIO_InitStruct);

  /*Configure GPIO pins : M0_LORA_Pin M1_LORA_Pin FLASH_nCS_Pin */
  GPIO_InitStruct.Pin = M0_LORA_Pin|M1_LORA_Pin|FLASH_nCS_Pin;
  GPIO_InitStruct.Mode = GPIO_MODE_OUTPUT_PP;
  GPIO_InitStruct.Pull = GPIO_NOPULL;
  GPIO_InitStruct.Speed = GPIO_SPEED_FREQ_LOW;
  HAL_GPIO_Init(GPIOA, &GPIO_InitStruct);

  /*Configure GPIO pins : PB0 PB12 PB3 PB5
                           PB6 PB7 PB8 */
  GPIO_InitStruct.Pin = GPIO_PIN_0|GPIO_PIN_12|GPIO_PIN_3|GPIO_PIN_5
                          |GPIO_PIN_6|GPIO_PIN_7|GPIO_PIN_8;
  GPIO_InitStruct.Mode = GPIO_MODE_ANALOG;
  GPIO_InitStruct.Pull = GPIO_NOPULL;
  HAL_GPIO_Init(GPIOB, &GPIO_InitStruct);

  /*Configure GPIO pins : Channel1_PYRO_Pin Channel2_PYRO_Pin Status_LED_Pin */
  GPIO_InitStruct.Pin = Channel1_PYRO_Pin|Channel2_PYRO_Pin|Status_LED_Pin;
  GPIO_InitStruct.Mode = GPIO_MODE_OUTPUT_PP;
  GPIO_InitStruct.Pull = GPIO_NOPULL;
  GPIO_InitStruct.Speed = GPIO_SPEED_FREQ_LOW;
  HAL_GPIO_Init(GPIOB, &GPIO_InitStruct);

  /*Configure GPIO pin : LORA_AUX_Pin */
  GPIO_InitStruct.Pin = LORA_AUX_Pin;
  GPIO_InitStruct.Mode = GPIO_MODE_INPUT;
  GPIO_InitStruct.Pull = GPIO_PULLUP;
  HAL_GPIO_Init(LORA_AUX_GPIO_Port, &GPIO_InitStruct);

  /*Configure GPIO pin : DEBUG_LED_FLASH_Pin */
  GPIO_InitStruct.Pin = DEBUG_LED_FLASH_Pin;
  GPIO_InitStruct.Mode = GPIO_MODE_OUTPUT_PP;
  GPIO_InitStruct.Pull = GPIO_NOPULL;
  GPIO_InitStruct.Speed = GPIO_SPEED_FREQ_LOW;
  HAL_GPIO_Init(DEBUG_LED_FLASH_GPIO_Port, &GPIO_InitStruct);

}

void Startup(void *argument)
{
  /* init code for USB_DEVICE */
  MX_USB_DEVICE_Init();
	for(;;)
	{
		osDelay(1);
	}
}

void FlashWrite(void *argument)
{
  /* USER CODE BEGIN FlashWrite */
	UBaseType_t uxHighWaterMark;
	uxHighWaterMark = uxTaskGetStackHighWaterMark( NULL );

//	uint8_t write_done = 0;

	uint32_t tick;
	//Flash_Write_float(0x1000000 - 0x1, &write_done, 1); //0x90FFFFFE

	tick = osKernelGetTickCount();
  /* Infinite loop */
	for(;;)
	{
#if 0
		if (write_done == 0)
		{
			for(int ii = 0; ii < sizeof(DnLc_00); ii++)
			{
				DnLc_00[ii] = ii;
			}
			for(int ii = 0; ii < sizeof(DnLc_01); ii++)
			{
				DnLc_01[ii] = 0x55;
			}
			Flash_Write_float(0, DnLc_00, sizeof(DnLc_00));
			Flash_Write_float(sizeof(DnLc_00), DnLc_01, sizeof(DnLc_01));
			write_done = 1;
		}
#else
		if (num_meas_stored_in_buffer > (FLASH_NUMBER_OF_STORE_EACH_TIME - 1))
		{
			Set_Flash_Flag(true);

			/* this value 7 depends on the number of measurements are performed
			* between each time the flash task is invoked. In this case it is 7
			* because flash task has a period of 80 ticks while sensor task of
			* 10 ticks therefore 80/10 = 8 measurements, so > 7, means that when
			* 8 measurements are performed we can enter. In general the value will
			* be (flash_task_period / sensor_task_period) - 1
			*/

			uint32_t num2 = 0;
			uint32_t num3 = 0;
			num2 = num_big_meas_stored_in_flash;
			num3 = num_small_meas_stored_in_flash;

			uint32_t addr = num2 * sizeof(sensor_data) + sizeof(sensor_data_2) * num3 + 4;

			if(addr< 0x1000000){
				for (int j = 0; j < FLASH_NUMBER_OF_STORE_EACH_TIME; j++) {
	//			    // Assuming sensor_data contains an array of 8 floats inside it.
	//			    // Write 8 floats from the j-th object in measurements_buffer
					Flash_Write_float(addr, (uint8_t*)&measurements_buffer[j], sizeof(sensor_data));  // 32 bytes

	//			    // Assuming sensor_data_2 contains an array of 3 floats inside it.
	//			    // Write 3 floats from the j-th object in measurements_buffer_2
					addr = addr + sizeof(sensor_data);
					Flash_Write_float(addr, (uint8_t*)&measurements_buffer_2[j], sizeof(sensor_data_2));  // 12 bytes

	//			    // Update the flash address to account for the data just written (32 + 12 = 44 bytes)
					addr = addr + sizeof(sensor_data_2);
				}

				num_big_meas_stored_in_flash += 8;
				num_small_meas_stored_in_flash += 8;
			}
			num_meas_stored_in_buffer = (uint32_t)0;
			Set_Flash_Flag(false);

		}
//		} while ((num_meas_stored > (FLASH_NUMBER_OF_STORE_EACH_TIME - 1)));
#endif
		tick += FLASH_WRITE_TASK_PERIOD;
		uxHighWaterMark = uxTaskGetStackHighWaterMark( NULL );
		if (uxHighWaterMark)
		{
			__asm("nop");
		}
		osDelayUntil(tick);
	}
  /* USER CODE END FlashWrite */
}

void SensorsRead(void *argument)
{
  /* USER CODE BEGIN SensorsRead */
	UBaseType_t uxHighWaterMark = uxTaskGetStackHighWaterMark( NULL );

	uint32_t tick;

	tick = osKernelGetTickCount();

  /* Infinite loop */
	for(;;)
	{
		bool flag = Get_Flash_Flag();
		if(!flag && (num_meas_stored_in_buffer != 8)){
			sensor_data data_1 = {0}, data_2 = {0};
			sensor_data_2 data_1_2 = {0};
			sensor_data_2 data_2_2 ={0};
			uint8_t result = 1;

			/* retrieving data from a couple of sensor and doing required conversions */
			result = bmp3_get_sensor_data(BMP3_PRESS_TEMP, &barometer_data_1, &bmp390_1);
			result = bmp3_get_sensor_data(BMP3_PRESS_TEMP, &barometer_data_2, &bmp390_2);

			result = lsm6dso32_angular_rate_raw_get(&imu_1, data_raw_angular_rate_1);
			result = lsm6dso32_acceleration_raw_get(&imu_1, data_raw_acceleration_1);
			result = lsm6dso32_angular_rate_raw_get(&imu_2, data_raw_angular_rate_2);
			result = lsm6dso32_acceleration_raw_get(&imu_2, data_raw_acceleration_2);

			if (result)
			{
				__asm("nop");
			}

			angular_rate_mdps_1[0] = lsm6dso32_from_fs2000_to_mdps(data_raw_angular_rate_1[0]);
			angular_rate_mdps_1[1] = lsm6dso32_from_fs2000_to_mdps(data_raw_angular_rate_1[1]);
			angular_rate_mdps_1[2] = lsm6dso32_from_fs2000_to_mdps(data_raw_angular_rate_1[2]);
			angular_rate_mdps_2[0] = lsm6dso32_from_fs2000_to_mdps(data_raw_angular_rate_2[0]);
			angular_rate_mdps_2[1] = lsm6dso32_from_fs2000_to_mdps(data_raw_angular_rate_2[1]);
			angular_rate_mdps_2[2] = lsm6dso32_from_fs2000_to_mdps(data_raw_angular_rate_2[2]);

			acceleration_mg_1[0] = lsm6dso32_from_fs16_to_mg(data_raw_acceleration_1[0]);
			acceleration_mg_1[1] = lsm6dso32_from_fs16_to_mg(data_raw_acceleration_1[1]);
			acceleration_mg_1[2] = lsm6dso32_from_fs16_to_mg(data_raw_acceleration_1[2]);
			acceleration_mg_2[0] = lsm6dso32_from_fs16_to_mg(data_raw_acceleration_2[0]);
			acceleration_mg_2[1] = lsm6dso32_from_fs16_to_mg(data_raw_acceleration_2[1]);
			acceleration_mg_2[2] = lsm6dso32_from_fs16_to_mg(data_raw_acceleration_2[2]);

			/* storing measurements to sensor_data variable */

			data_1.acc_x = acceleration_mg_1[0];
			data_1.acc_y = acceleration_mg_1[1];
			data_1.acc_z = acceleration_mg_1[2];
			data_1.dps_x = angular_rate_mdps_1[0];
			data_1.dps_y = angular_rate_mdps_1[1];
			data_1.dps_z = angular_rate_mdps_1[2];
			data_1.temperature = barometer_data_1.temperature;
			data_1.pressure = barometer_data_1.pressure;

			data_2.acc_x = acceleration_mg_2[0];
			data_2.acc_y = acceleration_mg_2[1];
			data_2.acc_z = acceleration_mg_2[2];
			data_2.dps_x = angular_rate_mdps_2[0];
			data_2.dps_y = angular_rate_mdps_2[1];
			data_2.dps_z = angular_rate_mdps_2[2];
			data_2.temperature = barometer_data_2.temperature;
			data_2.pressure = barometer_data_2.pressure;

			prev_acc.accX = curr_acc.accX;
			prev_acc.accY = curr_acc.accY;
			prev_acc.accZ = curr_acc.accZ;

			curr_acc.accX = acceleration_mg_1[0];
			curr_acc.accY = acceleration_mg_1[1];
			curr_acc.accZ = acceleration_mg_1[2];

			if(first_measure){
				Pressure_1 = data_1.pressure;
				Pressure_2 = data_2.pressure;
				first_measure = false;
			}

			altitude = readAltitude(Pressure_1,data_1.pressure);
			data_1_2.altitude = altitude;
			altitude_2 = readAltitude(Pressure_2,data_2.pressure);
			data_2_2.altitude = altitude_2;

//		    /* Kalman filter implementation */
//		    float z_IMU = data_1.acc_z; // Assuming acceleration z from IMU
//		    float z_BARO = data_1_2.altitude; // Assuming altitude from barometer
//
//		    // Prediction step
//		        float xp_pred[3] = {
//		            F[0][0] * xp[0] + F[0][1] * xp[1] + F[0][2] * xp[2], // Altitude
//		            F[1][0] * xp[0] + F[1][1] * xp[1] + F[1][2] * xp[2], // Velocity
//		            F[2][0] * xp[0] + F[2][1] * xp[1] + F[2][2] * xp[2]  // Acceleration
//		        };
//
//		        // Update covariance
//		        float P_pred[3][3];
//		        for (int i = 0; i < 3; i++) {
//		            for (int j = 0; j < 3; j++) {
//		                P_pred[i][j] = F[i][0] * P[0][j] + F[i][1] * P[1][j] + F[i][2] * P[2][j] + Q[i][j];
//		            }
//		        }
//
//		        // Measurement update
//		        float z[2] = {z_BARO, z_IMU}; // Measurement vector
//		        float y[2] = {z[0] - (C[0][0] * xp_pred[0] + C[0][1] * xp_pred[1] + C[0][2] * xp_pred[2]),
//		                      z[1] - (C[1][0] * xp_pred[0] + C[1][1] * xp_pred[1] + C[1][2] * xp_pred[2])}; // Measurement residual
//
//		        // Compute the innovation covariance S
//		        float S[2][2];
//		        for (int i = 0; i < 2; i++) {
//		            for (int j = 0; j < 2; j++) {
//		                S[i][j] = C[i][0] * P_pred[0][j] + C[i][1] * P_pred[1][j] + C[i][2] * P_pred[2][j] + R[i][j];
//		            }
//		        }
//
//		        // Calculate the Kalman gain K
//		        float K[3][2]; // Kalman gain
//		        float S_inv[2][2]; // Inverse of S
//		        // Calculate determinant
//		        float det = S[0][0] * S[1][1] - S[0][1] * S[1][0];
//		        // Calculate the inverse of S
//		        S_inv[0][0] = S[1][1] / det;
//		        S_inv[0][1] = -S[0][1] / det;
//		        S_inv[1][0] = -S[1][0] / det;
//		        S_inv[1][1] = S[0][0] / det;
//
//		        // Calculate Kalman gain K
//		        for (int i = 0; i < 3; i++) {
//		            for (int j = 0; j < 2; j++) {
//		                K[i][j] = 0.0;
//		                for (int k = 0; k < 3; k++) {
//		                    K[i][j] += P_pred[i][k] * C[j][k];
//		                }
//		                for (int k = 0; k < 2; k++) {
//		                    K[i][j] *= S_inv[j][k];
//		                }
//		            }
//		        }
//
//		        // Update state estimate
//		        for (int i = 0; i < 3; i++) {
//		            xp[i] = xp_pred[i] + K[i][0] * y[0] + K[i][1] * y[1];
//		        }
//
//		        // Update covariance
//		        float P_updated[3][3];
//		        for (int i = 0; i < 3; i++) {
//		            for (int j = 0; j < 3; j++) {
//		                P_updated[i][j] = P_pred[i][j];
//		                for (int k = 0; k < 2; k++) {
//		                    P_updated[i][j] -= K[i][k] * C[k][j] * P_pred[i][j];
//		                }
//		            }
//		        }
//		        memcpy(P, P_updated, sizeof(P)); // Update the covariance matrix

			switch (flight_state.flight_state){

				case CALIBRATING:
					data_1_2.phase = 1.0;
					data_2_2.phase = 1.0;
					break;
				case READY:
					data_1_2.phase = 2.0;
					data_2_2.phase = 2.0;
					break;
				case BURNING:
					data_1_2.phase = 3.0;
					data_2_2.phase = 3.0;
					break;
				case ABCSDEPLOYED:
					data_1_2.phase = 4.0;
					data_2_2.phase = 4.0;
					break;
				case DROGUE:
					data_1_2.phase = 5.0;
					data_2_2.phase = 5.0;
				case MAIN:
					data_1_2.phase = 6.0;
					data_2_2.phase = 6.0;
					break;
				case TOUCHDOWN:
					data_1_2.phase = 7.0;
					data_2_2.phase = 7.0;
					break;

				case INVALID:
					break;
			}

			data_1_2.velocity=(altitude - prev_altitude)*100;
			velocity = data_1_2.velocity;
			prev_altitude = altitude;

			/* computing offset of the buffer and storing the data to the buffer */

			size_t offset = num_meas_stored_in_buffer * sizeof(sensor_data);
			size_t offset_2 = num_meas_stored_in_buffer * sizeof(sensor_data_2);

			memcpy((uint8_t*)measurements_buffer + offset, &data_2, sizeof(sensor_data));
			memcpy((uint8_t*)measurements_buffer_2 + offset_2, &data_2_2, sizeof(sensor_data_2));

			if (data_1_2.altitude > 0)
			{
				__asm("nop");
			}

			/*
			 * increment of the number of stored measurements and
			 * modulo operation to avoid buffer overflow in the offset computation
			 */
			/*
			 * During READY phase data are not saved in the flash, therefore the data
			 * are always overwritten to the previous ones
			 */
	        num_meas_stored_in_buffer %= (uint32_t)8;
       		num_meas_stored_in_buffer += 1;
		}

		tick += SENSORS_TASK_PERIOD;
		uxHighWaterMark = uxTaskGetStackHighWaterMark( NULL );
		if (uxHighWaterMark)
		{
			__asm("nop");
		}
		osDelayUntil(tick);
	}
  /* USER CODE END SensorsRead */
}

void CommunicationBoard(void *argument)
{
  /* USER CODE BEGIN CommunicationBoard */
	UBaseType_t uxHighWaterMark = uxTaskGetStackHighWaterMark( NULL );

	uint32_t tick;

	tick = osKernelGetTickCount();
	Lora_Package package;
	uint8_t array[45];
//	float test[11];
	  /* Infinite loop */
	for(;;)
	{
		package.carattere = 'D';
	    package.acc_x = acceleration_mg_1[0];
	    package.acc_y = acceleration_mg_1[1];
	    package.acc_z = acceleration_mg_1[2];
	    package.dps_x = angular_rate_mdps_1[0];
	    package.dps_y = angular_rate_mdps_1[1];
	    package.dps_z = angular_rate_mdps_1[2];
	    package.temperature = barometer_data_1.temperature;
	    package.pressure = barometer_data_1.pressure;
	    package.altitude =  altitude;
	    package.velocity = 0;
	    switch (flight_state.flight_state){
			case INVALID:
				package.phase = 0.0;
				break;
			case CALIBRATING:
				package.phase = 1.0;
				break;
			case READY:
				package.phase = 2.0;
				break;
			case BURNING:
				package.phase = 3.0;
				break;
			case ABCSDEPLOYED:
				package.phase = 4.0;
				break;
			case DROGUE:
				package.phase = 5.0;
				break;
			case MAIN:
				package.phase = 6.0;
				break;
			case TOUCHDOWN:
				package.phase = 7.0;
				break;
	    }

	    memcpy((uint8_t*)array, &package, sizeof(Lora_Package));
	    //memcpy((float*)test, &package+1, sizeof(Lora_Package));
	    acknowledge_flag =true;
	    if(acknowledge_flag){
	    	int tx_status = E220_transmit_payload(&LoraTX,array, 45);
	    	if (tx_status != 1) {
	    		printf("Transmission failed with status: %d\n", tx_status);
	    	}

	    	osDelay(500);
	    }
	    else{
	    	array[0] ='C';
	    	int tx_status = E220_transmit_payload(&LoraTX,array, 45);
	    	if (tx_status != 1) {
	    		printf("Transmission failed with status: %d\n", tx_status);
	    	}

	    	osDelay(500);
	    }

		E220_receive_payload(&LoraRX,receive_buffer,sizeof(receive_buffer));
		if(!acknowledge_flag && receive_buffer[0] == 'C'){
			acknowledge_flag = true;
		}
		if(acknowledge_flag && receive_buffer[0] == 'F' && receive_buffer[1] < 65 ){
			E220_write_register(&LoraTX,0x4,receive_buffer[1]);
		}

		tick += COMMUNICATION_BOARD_TASK_PERIOD;
		uxHighWaterMark = uxTaskGetStackHighWaterMark( NULL );
		if (uxHighWaterMark)
		{
			__asm("nop");
		}
		osDelayUntil(tick);
	}
  /* USER CODE END CommunicationBoard */
}

void FlightFSM(void *argument)
{
  /* USER CODE BEGIN FlightFSM */

	UBaseType_t uxHighWaterMark = uxTaskGetStackHighWaterMark( NULL );

	uint32_t tick;

	tick = osKernelGetTickCount();
	/* Infinite loop */
	for(;;)
	{
		linear_acceleration_t acc1;
		acc1.accX = acceleration_mg_1[0];
		acc1.accY = acceleration_mg_1[1];
		acc1.accZ = acceleration_mg_1[2];

		linear_acceleration_t acc2;
		acc2.accX = angular_rate_mdps_1[0];
		acc2.accY = angular_rate_mdps_1[1];
		acc2.accZ = angular_rate_mdps_1[2];

		estimation_output_t MotionData;
		MotionData.acceleration = sqrt(acceleration_mg_1[0]*acceleration_mg_1[0] + acceleration_mg_1[1]*acceleration_mg_1[1] + acceleration_mg_1[2]*acceleration_mg_1[2]);
		MotionData.height = altitude;

		/* Check Flight Phases */
		check_flight_phase(&flight_state,MotionData, acc1, acc2);

		tick += FLIGHT_FSM_TASK_PERIOD;
		uxHighWaterMark = uxTaskGetStackHighWaterMark( NULL );
		if (uxHighWaterMark)
		{
			__asm("nop");
		}
		osDelayUntil(tick);
	}
  /* USER CODE END FlightFSM */
}

void SystemHealthCheck(void *argument)
{
  /* USER CODE BEGIN SystemHealthCheck */
	UBaseType_t uxHighWaterMark = uxTaskGetStackHighWaterMark( NULL );

	uint32_t tick;

	tick = osKernelGetTickCount();
	/* Infinite loop */
	for(;;)
	{

		tick += FLIGHT_HEALTH_CHECK_TASK_PERIOD;
		uxHighWaterMark = uxTaskGetStackHighWaterMark( NULL );
		if (uxHighWaterMark)
		{
			__asm("nop");
		}
		osDelayUntil(tick);
	}
  /* USER CODE END SystemHealthCheck */
}

void HAL_TIM_PeriodElapsedCallback(TIM_HandleTypeDef *htim)
{
  if (htim->Instance == TIM1) {
    HAL_IncTick();
  }
}

void Error_Handler(void)
{
  __disable_irq();
  while (1)
  {
  }
}
